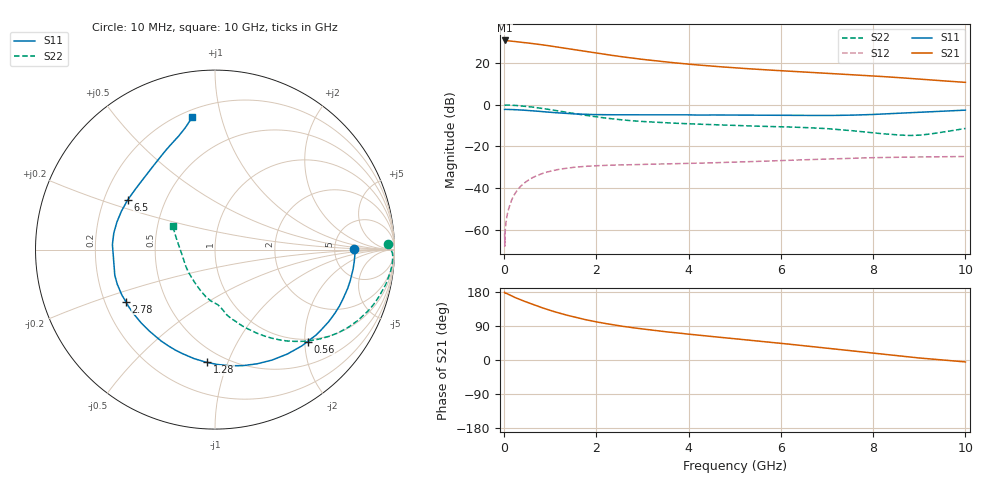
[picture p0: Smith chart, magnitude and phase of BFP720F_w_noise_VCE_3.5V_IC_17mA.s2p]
! Infineon Technologies  Discrete & RF Semiconductors
! BFP720F
! VCE =  3.5 V,  IC =  17 mA
! Common Emitter S-Parameters:  Jan 2016
# GHz  S  MA  R  50
!  f  S11  S21  S12  S22
! GHz  MAG  ANG  MAG  ANG  MAG  ANG  MAG  ANG
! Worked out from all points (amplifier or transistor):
!   233 points, 10 MHz to 10 GHz, reference 50 ohm
!   highest |S21| = 31.0 dB at 10 MHz (marker M1)
!   |S21| within 3 dB of that: start of sweep to 1.107 GHz
!   unconditionally stable (mu >= 1): start of sweep to 15.93 MHz; 5.917 GHz to end of sweep
!   at 200 MHz: K = 0.11, MSG = 37.3 dB, |S12| = -44.0 dB
!   at 1.74 GHz: K = 0.40, MSG = 27.7 dB, |S12| = -29.6 dB
!   at 10 GHz: K = 1.20, MAG = 15.1 dB, |S12| = -24.8 dB
!   lowest NFmin = 0.77 dB at 450 MHz
!   S11 on the Smith chart (normalised r, x): 10 MHz: 7.89, +0.16; 560 MHz: 0.95, -2.06; 1.28 GHz: 0.41, -0.85; 2.78 GHz: 0.29, -0.25; 6.5 GHz: 0.30, +0.24; 10 GHz: 0.24, +0.81
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0.01  0.7752 0.3  35.43 178.6  0.0008 -23.8  0.9624 2.0
0.02  0.7805 -1.3  35.08 176.4  0.0008 90.2  0.9885 -1.0
0.05  0.7795 -4.0  35.09 175.9  0.0018 81.2  0.9914 -2.0
0.15  0.774 -12.3  34.21 169.7  0.0047 82.2  0.9861 -7.0
0.24  0.766 -19.6  33.3 164.7  0.0075 79.1  0.9723 -11.1
0.42  0.7467 -34.0  31.6 155.8  0.0127 72.2  0.9351 -19.0
0.56  0.7269 -44.8  30.34 149.5  0.0164 66.9  0.8994 -24.6
0.7  0.7078 -55.3  29.02 143.1  0.0197 62.0  0.8614 -30.0
0.9  0.6783 -69.7  27.13 134.8  0.0237 55.6  0.8003 -37.1
1.1  0.6521 -82.9  25.15 127.1  0.0269 50.0  0.7381 -43.3
1.28  0.6298 -93.9  23.45 120.9  0.0293 45.5  0.6844 -48.3
1.68  0.5967 -115.1  20 108.7  0.0327 37.8  0.5801 -57.8
1.92  0.585 -125.4  18.18 102.5  0.034 34.3  0.5296 -62.5
2.2  0.5799 -135.2  16.34 96.2  0.0351 31.1  0.4821 -67.1
2.78  0.5753 -149.7  13.32 85.4  0.0365 27.0  0.4143 -74.1
3.4  0.577 -159.2  11.09 76.2  0.0378 24.8  0.3764 -78.9
4  0.5764 -165.6  9.522 68.1  0.0391 23.6  0.3504 -81.5
5.1  0.57 169.4  7.652 54.9  0.0424 22.7  0.318 -85.3
6.5  0.5598 150.2  6.177 37.6  0.0478 20.4  0.2864 -94.7
6.8  0.5567 145.2  5.909 33.8  0.049 19.6  0.2753 -98.2
8.4  0.6171 116.4  4.65 12.9  0.0548 13.9  0.1945 -139.4
10  0.7472 99.9  3.48 -5.1  0.0574 8.7  0.2713 150.6
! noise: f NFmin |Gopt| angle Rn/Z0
0.45  0.77  0.21  1  0.52
0.9  0.79  0.11  0  0.14
1.8  0.82  0.08  -6  0.16
2.4  0.83  0.08  -13  0.14
5.5  0.98  0.08  -18  0.1
10  1.15  0.35  -83  0.22
